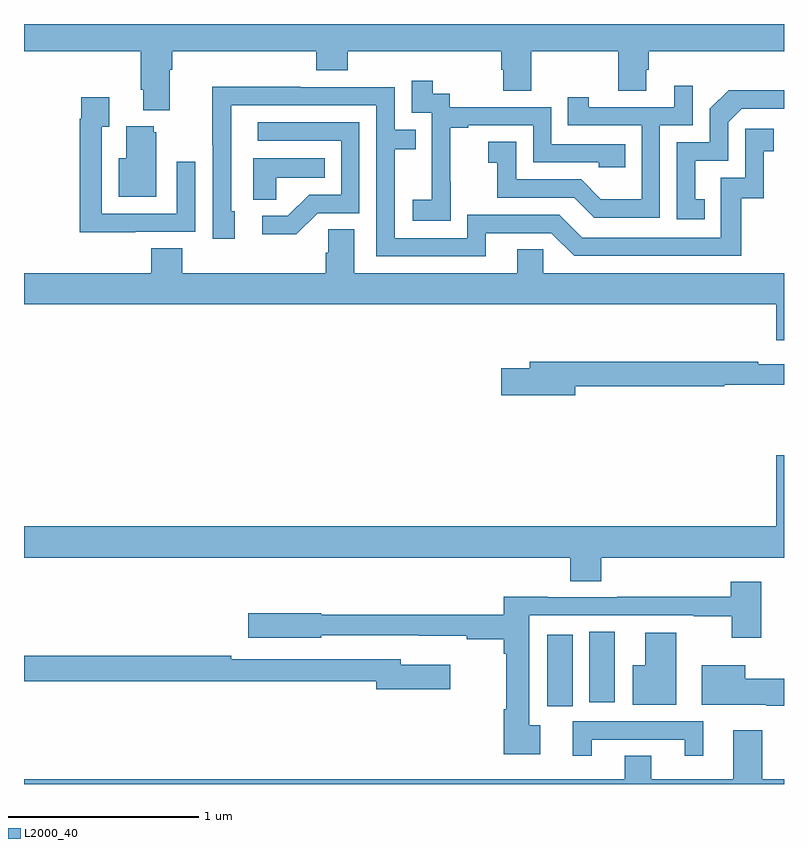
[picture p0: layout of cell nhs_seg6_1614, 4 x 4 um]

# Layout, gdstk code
import gdstk
lib = gdstk.Library(unit=1e-6, precision=1e-09)
def R(c, l, rs):  # rectangles x0, y0, x1, y1
    for r in rs: c.add(gdstk.rectangle(r[:2], r[2:], *l))
def P(c, l, *ps):  # polygons
    for p in ps: c.add(gdstk.Polygon(p, *l))
L2000_40 = (2000, 40)

nhs_seg6_1614 = lib.new_cell('nhs_seg6_1614')
R(nhs_seg6_1614, L2000_40, [(211.754,923.91,211.888,924.286), (211.976,923.931,212.11,924.302)])
P(nhs_seg6_1614, L2000_40, [(209.767,927.26),(209.78,927.26),(209.78,927.356),(210.539,927.356),(210.539,927.257),(210.704,927.257),(210.704,927.356),(211.511,927.356),(211.511,927.258),(211.523,927.258),(211.523,927.148),(211.671,927.148),(211.671,927.356),(212.128,927.356),(212.128,927.148),(212.275,927.148),(212.275,927.258),(212.288,927.258),(212.288,927.356),(213,927.356),(213,927.5),(209,927.5),(209,927.356),(209.615,927.356),(209.615,927.154),(209.627,927.154),(209.627,927.047),(209.767,927.047)],
  [(211.245,926.671),(211.244,926.671),(211.244,926.955),(211.339,926.955),(211.339,926.967),(211.68,926.967),(211.68,926.772),(212.025,926.772),(212.025,926.745),(212.165,926.745),(212.165,926.868),(211.776,926.868),(211.776,927.063),(211.242,927.063),(211.242,927.132),(211.15,927.132),(211.15,927.202),(211.041,927.202),(211.041,927.033),(211.146,927.033),(211.146,926.804),(211.145,926.804),(211.145,926.575),(211.047,926.575),(211.047,926.465),(211.245,926.465)],
  [(212.346,926.967),(212.52,926.967),(212.52,927.175),(212.423,927.175),(212.423,927.063),(211.972,927.063),(211.972,927.115),(211.861,927.115),(211.861,926.967),(212.25,926.967),(212.25,926.578),(212.036,926.578),(211.932,926.682),(211.59,926.682),(211.59,926.881),(211.443,926.881),(211.443,926.771),(211.492,926.771),(211.492,926.586),(211.895,926.586),(212,926.481),(212.346,926.481)],
  [(211.429,926.4),(211.776,926.4),(211.896,926.28),(212.776,926.28),(212.776,926.583),(212.894,926.583),(212.894,926.829),(212.947,926.829),(212.947,926.95),(212.796,926.95),(212.796,926.691),(212.667,926.691),(212.667,926.376),(211.938,926.376),(211.818,926.496),(211.332,926.496),(211.332,926.373),(210.951,926.373),(210.951,926.842),(211.061,926.842),(211.061,926.943),(210.951,926.943),(210.951,927.168),(210.455,927.168),(210.455,927.17),(209.992,927.17),(209.992,926.863),(209.994,926.863),(209.994,926.37),(210.109,926.37),(210.109,926.514),(210.09,926.514),(210.09,927.072),(210.855,927.072),(210.855,926.277),(211.429,926.277)],
  [(212.582,926.577),(212.533,926.577),(212.533,926.781),(212.706,926.781),(212.706,926.982),(212.778,927.054),(213,927.054),(213,927.152),(212.708,927.152),(212.61,927.054),(212.61,926.877),(212.436,926.877),(212.436,926.472),(212.582,926.472)],
  [(209.585,926.406),(209.901,926.406),(209.901,926.776),(209.805,926.776),(209.805,926.502),(209.409,926.502),(209.409,926.959),(209.449,926.959),(209.449,927.115),(209.301,927.115),(209.301,927.002),(209.293,927.002),(209.293,926.405),(209.585,926.405)],
  [(210.546,926.505),(210.765,926.505),(210.765,926.982),(210.231,926.982),(210.231,926.886),(210.669,926.886),(210.669,926.601),(210.5,926.601),(210.389,926.49),(210.255,926.49),(210.255,926.393),(210.433,926.393)],
  [(209.695,926.931),(209.684,926.931),(209.684,926.962),(209.537,926.962),(209.537,926.794),(209.498,926.794),(209.498,926.591),(209.695,926.591)],
  [(210.327,926.69),(210.584,926.69),(210.584,926.794),(210.206,926.794),(210.206,926.575),(210.327,926.575)],
  [(213,926.188),(211.734,926.188),(211.734,926.315),(211.595,926.315),(211.595,926.188),(210.739,926.188),(210.739,926.42),(210.6,926.42),(210.6,926.297),(210.587,926.297),(210.587,926.188),(209.834,926.188),(209.834,926.321),(209.669,926.321),(209.669,926.188),(209,926.188),(209,926.024),(212.96,926.024),(212.96,925.836),(213,925.836)],
  [(211.9,925.594),(212.685,925.594),(212.685,925.602),(213,925.602),(213,925.71),(212.864,925.71),(212.864,925.723),(211.661,925.723),(211.661,925.689),(211.512,925.689),(211.512,925.547),(211.9,925.547)],
  [(212.039,924.692),(213,924.692),(213,925.231),(212.96,925.231),(212.96,924.856),(209,924.856),(209,924.692),(211.874,924.692),(211.874,924.568),(212.039,924.568)],
  [(211.717,923.81),(211.66,923.81),(211.66,924.387),(212.524,924.387),(212.524,924.382),(212.725,924.382),(212.725,924.27),(212.88,924.27),(212.88,924.565),(212.72,924.565),(212.72,924.485),(212.122,924.485),(212.122,924.483),(211.756,924.483),(211.756,924.485),(211.526,924.485),(211.526,924.391),(210.564,924.391),(210.564,924.399),(210.18,924.399),(210.18,924.269),(210.564,924.269),(210.564,924.282),(211.078,924.282),(211.078,924.281),(211.33,924.281),(211.33,924.262),(211.526,924.262),(211.526,924.185),(211.538,924.185),(211.538,923.893),(211.526,923.893),(211.526,923.657),(211.717,923.657)],
  [(212.434,924.295),(212.27,924.295),(212.27,924.124),(212.204,924.124),(212.204,923.918),(212.434,923.918)],
  [(211.243,924.127),(210.982,924.127),(210.982,924.156),(210.092,924.156),(210.092,924.176),(209,924.176),(209,924.04),(210.854,924.04),(210.854,923.998),(211.243,923.998)],
  [(213,924.053),(212.797,924.053),(212.797,924.124),(212.567,924.124),(212.567,923.918),(212.906,923.918),(212.906,923.911),(213,923.911)],
  [(211.987,923.733),(212.477,923.733),(212.477,923.649),(212.575,923.649),(212.575,923.829),(211.889,923.829),(211.889,923.649),(211.987,923.649)],
  [(213,923.524),(212.885,923.524),(212.885,923.782),(212.732,923.782),(212.732,923.524),(212.302,923.524),(212.302,923.648),(212.162,923.648),(212.162,923.524),(209,923.524),(209,923.5),(213,923.5)])

lib.write_gds('nhs_seg6_1614.gds')
